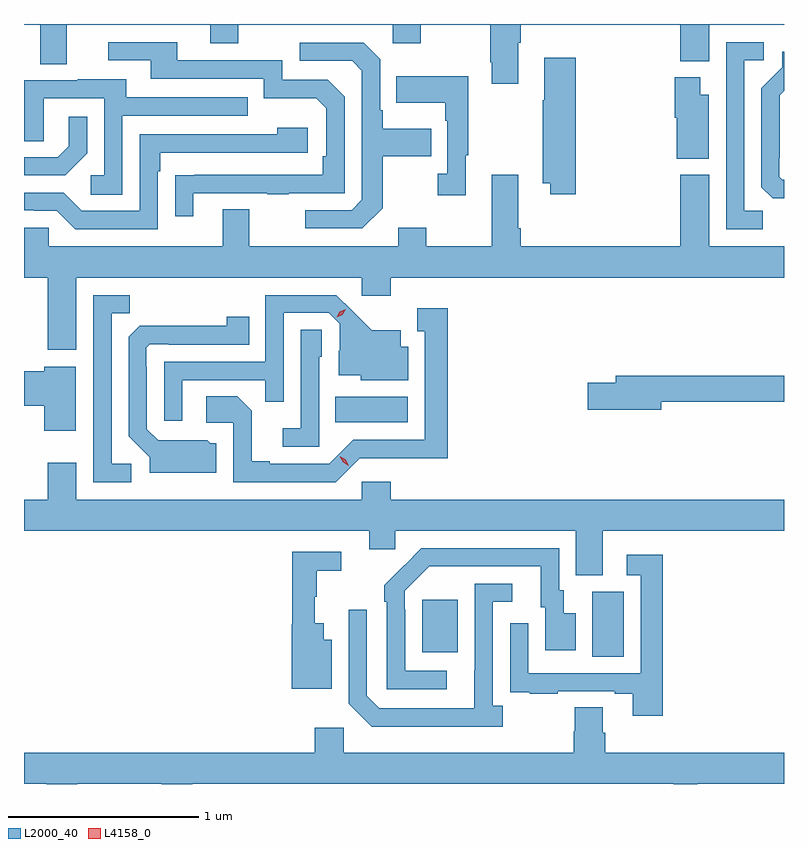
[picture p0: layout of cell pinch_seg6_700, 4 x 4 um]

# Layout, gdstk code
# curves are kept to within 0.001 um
import gdstk
lib = gdstk.Library(unit=1e-6, precision=1e-09)
def R(c, l, rs):  # rectangles x0, y0, x1, y1
    for r in rs: c.add(gdstk.rectangle(r[:2], r[2:], *l))
def P(c, l, *ps):  # polygons
    for p in ps: c.add(gdstk.Polygon(p, *l))
L2000_40 = (2000, 40)
L4158_0 = (4158, 0)

pinch_seg6_700 = lib.new_cell('pinch_seg6_700')
R(pinch_seg6_700, L2000_40, [(615.8,941.344,615.964,941.688), (614.903,941.369,615.091,941.644), (614.446,942.578,614.827,942.712)])
P(pinch_seg6_700, L2000_40, [(615.409,944.576),(615.422,944.576),(615.422,944.672),(616.262,944.672),(616.262,944.48),(616.414,944.48),(616.414,944.672),(616.808,944.672),(616.808,944.675),(612.808,944.675),(612.808,944.672),(612.893,944.672),(612.893,944.464),(613.033,944.464),(613.033,944.672),(613.787,944.672),(613.787,944.573),(613.935,944.573),(613.935,944.672),(614.748,944.672),(614.748,944.573),(614.895,944.573),(614.895,944.672),(615.262,944.672),(615.262,944.473),(615.269,944.473),(615.269,944.361),(615.409,944.361)],
  [(613.699,943.785),(614.089,943.785),(614.089,943.78),(614.201,943.78),(614.201,943.785),(614.496,943.785),(614.496,944.292),(614.406,944.382),(614.166,944.382),(614.166,944.484),(613.615,944.484),(613.615,944.58),(613.251,944.58),(613.251,944.484),(613.475,944.484),(613.475,944.388),(614.07,944.388),(614.07,944.285),(614.347,944.285),(614.4,944.232),(614.4,943.978),(614.38,943.978),(614.38,943.881),(613.603,943.88),(613.603,943.662),(613.699,943.662)],
  [(616.695,943.691),(616.599,943.691),(616.599,944.484),(616.702,944.484),(616.702,944.58),(616.503,944.58),(616.503,943.596),(616.695,943.596)],
  [(614.695,943.705),(614.695,943.978),(614.951,943.978),(614.951,944.125),(614.695,944.125),(614.695,944.221),(614.682,944.221),(614.682,944.49),(614.595,944.577),(614.259,944.577),(614.259,944.481),(614.535,944.481),(614.586,944.43),(614.586,943.749),(614.532,943.695),(614.289,943.695),(614.289,943.599),(614.589,943.599)],
  [(616.808,943.854),(616.8,943.854),(616.782,943.872),(616.782,943.972),(616.785,943.972),(616.785,944.301),(616.808,944.324),(616.808,944.53),(616.799,944.53),(616.799,944.448),(616.689,944.338),(616.689,943.816),(616.748,943.757),(616.808,943.757)],
  [(615.713,944.497),(615.545,944.497),(615.545,944.273),(615.538,944.273),(615.538,943.838),(615.578,943.838),(615.578,943.779),(615.713,943.779)],
  [(615.133,943.985),(615.145,943.985),(615.145,944.401),(614.767,944.401),(614.767,944.261),(615.024,944.261),(615.024,944.165),(615.036,944.165),(615.036,943.886),(614.985,943.886),(614.985,943.773),(615.133,943.773)],
  [(616.411,944.302),(616.366,944.302),(616.366,944.395),(616.232,944.395),(616.232,944.181),(616.244,944.181),(616.244,943.967),(616.411,943.967)],
  [(613.326,944.193),(613.985,944.193),(613.985,944.289),(613.345,944.289),(613.345,944.383),(613.091,944.383),(613.091,944.379),(612.808,944.379),(612.808,944.059),(612.912,944.059),(612.912,944.283),(613.23,944.283),(613.23,943.878),(613.158,943.878),(613.158,943.777),(613.326,943.777)],
  [(613.14,943.994),(613.14,944.188),(613.043,944.188),(613.043,944.031),(612.986,943.974),(612.808,943.974),(612.808,943.878),(613.024,943.878)],
  [(613.512,943.901),(613.525,943.901),(613.525,943.998),(614.302,943.998),(614.302,944.128),(614.141,944.128),(614.141,944.094),(613.416,944.094),(613.416,943.692),(613.113,943.692),(613.017,943.788),(612.808,943.788),(612.808,943.695),(612.863,943.695),(612.863,943.692),(612.981,943.692),(613.077,943.596),(613.512,943.596)],
  [(613.084,943.34),(614.586,943.34),(614.586,943.245),(614.738,943.245),(614.738,943.34),(616.808,943.34),(616.808,943.504),(616.414,943.504),(616.414,943.882),(616.262,943.882),(616.262,943.504),(615.422,943.504),(615.422,943.6),(615.409,943.6),(615.409,943.882),(615.269,943.882),(615.269,943.504),(614.925,943.504),(614.925,943.603),(614.777,943.603),(614.777,943.504),(613.993,943.504),(613.993,943.699),(613.853,943.699),(613.853,943.504),(612.939,943.504),(612.939,943.602),(612.808,943.602),(612.808,943.34),(612.932,943.34),(612.932,942.96),(613.084,942.96)],
  [(613.372,942.36),(613.269,942.36),(613.269,943.153),(613.365,943.153),(613.365,943.248),(613.173,943.248),(613.173,942.264),(613.372,942.264)],
  [(613.641,942.801),(614.077,942.801),(614.077,942.688),(614.175,942.688),(614.175,943.155),(614.412,943.155),(614.469,943.098),(614.469,942.956),(614.465,942.956),(614.465,942.827),(614.58,942.827),(614.58,942.8),(614.83,942.8),(614.83,942.976),(614.791,942.976),(614.791,943.063),(614.639,943.063),(614.452,943.248),(614.079,943.248),(614.079,942.897),(613.545,942.897),(613.545,942.588),(613.641,942.588)],
  [(614.574,942.39),(615.037,942.389),(615.037,943.18),(614.879,943.18),(614.879,943.059),(614.918,943.059),(614.918,942.486),(614.541,942.486),(614.415,942.36),(614.101,942.36),(614.101,942.373),(614.007,942.373),(614.007,942.64),(613.931,942.716),(613.767,942.716),(613.767,942.576),(613.908,942.576),(613.908,942.264),(614.448,942.264)],
  [(613.819,942.468),(613.788,942.468),(613.772,942.484),(613.515,942.483),(613.455,942.543),(613.455,942.872),(613.452,942.872),(613.452,942.972),(613.47,942.99),(613.57,942.99),(613.57,942.987),(613.994,942.987),(613.994,943.135),(613.876,943.135),(613.876,943.088),(613.418,943.087),(613.359,943.028),(613.359,942.506),(613.469,942.396),(613.469,942.314),(613.819,942.314)],
  [(614.361,942.924),(614.376,942.924),(614.376,943.067),(614.265,943.067),(614.265,942.547),(614.169,942.547),(614.169,942.45),(614.361,942.45)],
  [(613.081,942.871),(612.914,942.871),(612.914,942.848),(612.808,942.848),(612.808,942.665),(612.914,942.665),(612.914,942.534),(613.081,942.534)],
  [(616.162,942.688),(616.808,942.688),(616.808,942.824),(615.923,942.824),(615.923,942.788),(615.774,942.788),(615.774,942.646),(616.162,942.646)],
  [(615.853,942.008),(616.808,942.008),(616.808,942.172),(614.738,942.172),(614.738,942.265),(614.586,942.265),(614.586,942.172),(613.084,942.172),(613.084,942.367),(612.932,942.367),(612.932,942.172),(612.808,942.172),(612.808,942.008),(614.624,942.008),(614.624,941.91),(614.763,941.91),(614.763,942.008),(615.713,942.008),(615.713,941.773),(615.853,941.773)],
  [(615.034,941.271),(614.814,941.271),(614.814,941.591),(614.811,941.591),(614.811,941.691),(614.94,941.82),(615.527,941.82),(615.527,941.604),(615.551,941.604),(615.551,941.379),(615.712,941.379),(615.712,941.575),(615.649,941.575),(615.649,941.694),(615.624,941.694),(615.624,941.916),(614.9,941.916),(614.703,941.721),(614.703,941.633),(614.718,941.633),(614.718,941.175),(615.034,941.175)],
  [(614.428,941.434),(614.386,941.434),(614.386,941.521),(614.339,941.521),(614.339,941.661),(614.35,941.661),(614.35,941.797),(614.479,941.797),(614.479,941.898),(614.221,941.898),(614.221,941.517),(614.216,941.517),(614.216,941.177),(614.428,941.177)],
  [(616.169,941.881),(615.981,941.881),(615.981,941.775),(616.053,941.775),(616.053,941.259),(615.462,941.259),(615.462,941.521),(615.366,941.521),(615.366,941.266),(615.367,941.266),(615.367,941.157),(615.469,941.157),(615.469,941.151),(615.617,941.151),(615.617,941.163),(615.917,941.163),(615.917,941.151),(616.013,941.151),(616.013,941.034),(616.169,941.034)],
  [(615.328,941.086),(615.276,941.086),(615.276,941.634),(615.379,941.634),(615.379,941.73),(615.18,941.73),(615.179,941.073),(614.679,941.073),(614.613,941.139),(614.613,941.593),(614.517,941.593),(614.517,941.097),(614.638,940.976),(615.328,940.976)],
  [(613.089,940.676),(613.534,940.676),(613.534,940.675),(613.694,940.675),(613.694,940.676),(616.229,940.676),(616.229,940.675),(616.351,940.675),(616.351,940.676),(616.808,940.676),(616.808,940.84),(615.866,940.84),(615.866,940.946),(615.853,940.946),(615.853,941.078),(615.706,941.078),(615.706,940.953),(615.701,940.953),(615.701,940.84),(614.49,940.84),(614.49,940.972),(614.339,940.972),(614.339,940.84),(612.808,940.84),(612.808,940.676),(612.929,940.676),(612.929,940.675),(613.089,940.675)])
P(pinch_seg6_700, L4158_0, [(614.518,942.349),(614.487,942.368),(614.47,942.401),(614.47,942.401),(614.47,942.401),(614.501,942.382),(614.518,942.349),(614.518,942.349)],
  [(614.453,943.131),(614.453,943.131),(614.471,943.16),(614.501,943.175),(614.502,943.175),(614.502,943.174),(614.484,943.145),(614.453,943.131)])

lib.write_gds('pinch_seg6_700.gds')
